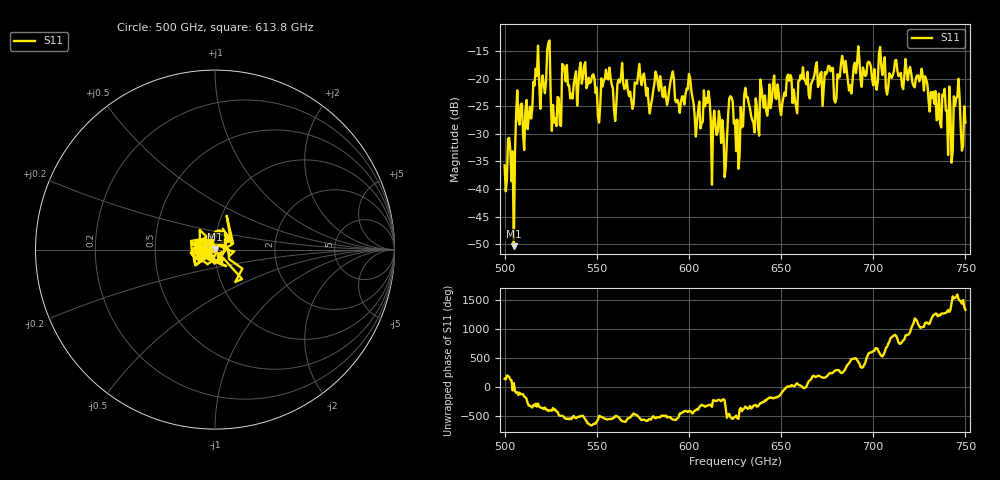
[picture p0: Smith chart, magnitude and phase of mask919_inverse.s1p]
!Created with skrf (http://scikit-rf.org).
# GHz S MA R 50.0
!freq magS11 angS11
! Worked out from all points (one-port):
!   401 points, 500 GHz to 750 GHz, reference 50 ohm
!   lowest |S11| = -50.4 dB at 505 GHz (marker M1), VSWR 1.01, Z = 50.1 + j0.269 ohm
!   |S11| at or under -10 dB: start of sweep to end of sweep
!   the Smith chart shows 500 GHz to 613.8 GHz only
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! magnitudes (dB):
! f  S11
! 500 GHz  -35.7
! 505 GHz  -50.4
! 507.5 GHz  -27.5
! 513.8 GHz  -25.0
! 516.9 GHz  -18.1
! 520.6 GHz  -19.4
! 523.8 GHz  -13.4
! 526.9 GHz  -27.9
! 531.2 GHz  -17.3
! 542.5 GHz  -19.5
! 550.6 GHz  -26.7
! 562.5 GHz  -20.7
! 593.8 GHz  -23.8
! 609.4 GHz  -23.5
! 618.8 GHz  -30.1
! 622.5 GHz  -23.2
! 625 GHz  -27.6
! 656.2 GHz  -24.4
! 676.9 GHz  -18.6
! 680 GHz  -23.5
! 683.8 GHz  -17.2
! 687.5 GHz  -21.1
! 691.2 GHz  -17.1
! 718.8 GHz  -20.2
! 738.8 GHz  -21.8
! 741.9 GHz  -25.5
! 745 GHz  -23.5
! 750 GHz  -27.9
